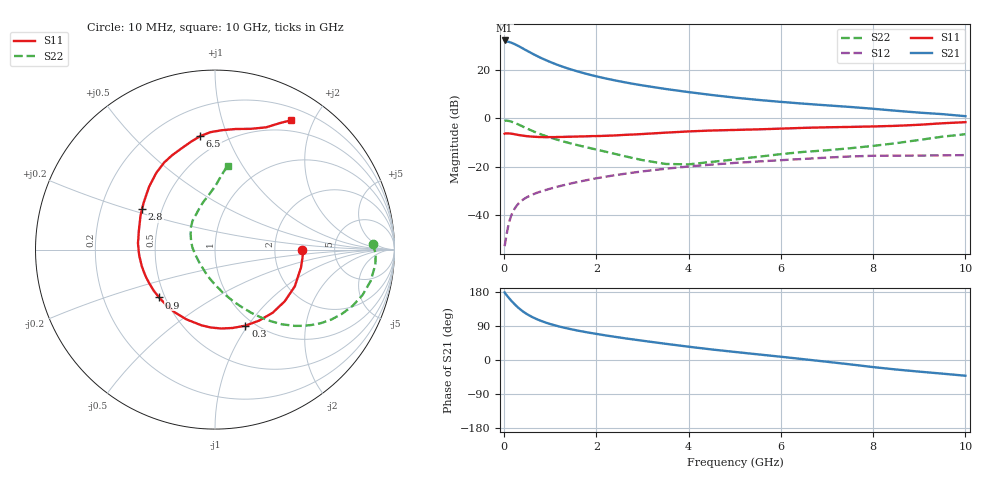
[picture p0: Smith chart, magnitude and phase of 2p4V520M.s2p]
! (c) 2009  Infineon Technologies AG, Munich
! Infineon Technologies  Discrete & RF Semiconductors
! BFP420
! VCE =  4.5 V,  IC =  20 mA
! Common Emitter S-Parameters:  Nov 2009
# GHz  S  MA  R  50
!  f  S11  S21  S12  S22
! GHz  MAG  ANG  MAG  ANG  MAG  ANG  MAG  ANG
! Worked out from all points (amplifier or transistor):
!   46 points, 10 MHz to 10 GHz, reference 50 ohm
!   highest |S21| = 32.2 dB at 10 MHz (marker M1)
!   |S21| within 3 dB of that: start of sweep to 377.4 MHz
!   unconditionally stable (mu >= 1): start of sweep to 30.36 MHz; 1.831 GHz to end of sweep
!   at 300 MHz: K = 0.42, MSG = 32.7 dB, |S12| = -35.4 dB
!   at 1.7 GHz: K = 0.97, MSG = 22.3 dB, |S12| = -25.8 dB
!   at 10 GHz: K = 1.07, MAG = 6.4 dB, |S12| = -15.2 dB
!   lowest NFmin = 1.23 dB at 900 MHz
!   S11 on the Smith chart (normalised r, x): 10 MHz: 2.87, -0.03; 300 MHz: 0.91, -0.97; 900 MHz: 0.46, -0.30; 2.8 GHz: 0.39, +0.22; 6.5 GHz: 0.38, +0.80; 10 GHz: 0.35, +1.69
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0.01  0.4829 -0.5  40.64 178.4  0.0023 29.2  0.8808 2.2
0.02  0.4901 -4.1  39.32 176.0  0.0026 29.8  0.8954 -1.6
0.1  0.4896 -24.7  38.01 164.2  0.0068 62.6  0.8847 -11.4
0.15  0.4837 -36.5  36.67 157.1  0.0097 64.5  0.8602 -17.1
0.2  0.4765 -47.6  35.11 150.6  0.0124 63.7  0.8286 -22.2
0.25  0.4655 -58.4  33.27 144.3  0.0148 62.3  0.7933 -26.8
0.3  0.4563 -68.2  31.53 138.7  0.017 60.9  0.7555 -31.1
0.35  0.4476 -77.3  29.74 133.6  0.0189 59.4  0.7183 -34.8
0.45  0.4346 -93.2  26.34 124.6  0.0223 56.9  0.6477 -41.0
0.6  0.4201 -112.5  22.02 113.9  0.0264 54.6  0.5579 -48.2
0.7  0.4151 -123.0  19.67 108.2  0.0288 53.8  0.509 -51.8
0.9  0.4101 -139.5  16.02 98.8  0.0332 53.0  0.4326 -57.8
1.2  0.4135 -157.6  12.32 88.2  0.0398 52.7  0.3513 -65.2
1.7  0.4252 -178.4  8.735 75.2  0.051 51.6  0.2647 -76.1
2.2  0.437 166.2  6.679 64.9  0.0625 49.3  0.2053 -87.3
2.8  0.4647 151.1  5.162 54.2  0.076 45.2  0.1511 -105.8
3.5  0.5074 136.4  4.049 42.8  0.0912 39.6  0.1146 -137.6
5.5  0.5934 108.5  2.41 14.9  0.1287 22.2  0.1609 147.6
6.5  0.6373 97.5  2.01 2.0  0.1458 13.4  0.2037 128.0
7  0.6548 92.2  1.858 -4.7  0.155 8.8  0.2197 119.4
8.5  0.7022 73.4  1.436 -25.1  0.1701 -7.9  0.3078 96.2
10  0.8352 59.6  1.111 -41.5  0.1746 -19.1  0.4715 81.5
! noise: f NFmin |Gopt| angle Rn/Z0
0.9  1.23  0.16  -154  0.13
1.8  1.51  0.24  -144  0.13
2.4  1.66  0.22  -141  0.15
3  1.69  0.3  -132  0.16
4  1.82  0.42  -115  0.23
5  2.28  0.48  -96  0.37
6  2.65  0.52  -86  0.56
